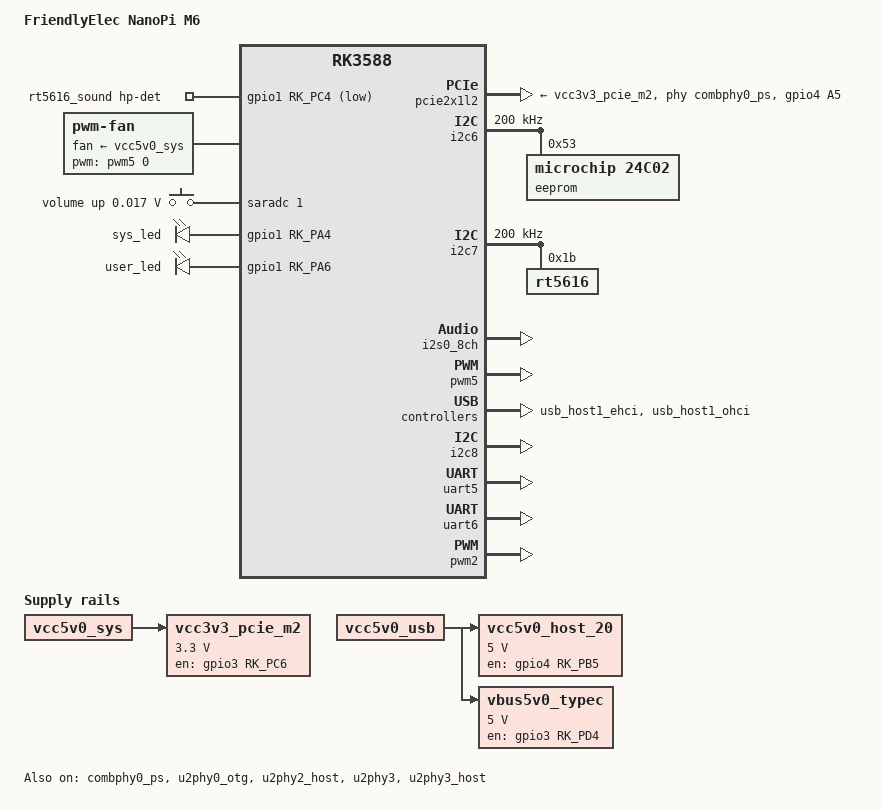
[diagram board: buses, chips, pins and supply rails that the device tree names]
// SPDX-License-Identifier: (GPL-2.0+ OR MIT)
/*
 * Copyright (c) 2024 FriendlyElec Computer Tech. Co., Ltd.
 * (http://www.friendlyelec.com)
 *
 * Copyright (c) 2021 Rockchip Electronics Co., Ltd.
 */

/dts-v1/;

#include "rk3588s-nanopi-r6-common.dtsi"

/ {
	model = "FriendlyElec NanoPi M6";
	compatible = "friendlyelec,nanopi-m6", "rockchip,rk3588";

	aliases {
		ethernet0 = &gmac1;
	};

	rt5616_sound: rt5616-sound {
		status = "okay";
		compatible = "simple-audio-card";
		pinctrl-names = "default";
		pinctrl-0 = <&hp_det>;

		simple-audio-card,name = "realtek,rt5616-codec";
		simple-audio-card,format = "i2s";
		simple-audio-card,mclk-fs = <256>;

		simple-audio-card,hp-det-gpio = <&gpio1 RK_PC4 GPIO_ACTIVE_LOW>;
		simple-audio-card,hp-pin-name = "Headphone Jack";

		simple-audio-card,widgets =
			"Headphone", "Headphone Jack",
			"Microphone", "Microphone Jack";
		simple-audio-card,routing =
			"Headphone Jack", "HPOL",
			"Headphone Jack", "HPOR",
			"MIC1", "Microphone Jack",
			"Microphone Jack", "micbias1";

		simple-audio-card,cpu {
			sound-dai = <&i2s0_8ch>;
		};
		simple-audio-card,codec {
			sound-dai = <&rt5616>;
		};
	};

	fan: pwm-fan {
		status = "okay";
		compatible = "pwm-fan";
		#cooling-cells = <2>;
		fan-supply = <&vcc5v0_sys>;
		pwms = <&pwm5 0 50000 0>;
		cooling-levels = <0 35 64 100 150 255>;
		rockchip,hold-time-ms = <2000>;
		rockchip,temp-trips = <
			50000	1
			55000	2
			60000	3
			65000	4
			70000	5
		>;
	};

	adc_keys: adc-keys {
		compatible = "adc-keys";
		io-channels = <&saradc 1>;
		io-channel-names = "buttons";
		keyup-threshold-microvolt = <1800000>;
		poll-interval = <100>;

		vol-up-key {
			label = "volume up";
			linux,code = <KEY_VOLUMEUP>;
			press-threshold-microvolt = <17000>;
		};
	};

	gpio_leds: gpio-leds {
		compatible = "gpio-leds";

		sys_led: led-0 {
			gpios = <&gpio1 RK_PA4 GPIO_ACTIVE_HIGH>;
			label = "sys_led";
			linux,default-trigger = "heartbeat";
			pinctrl-names = "default";
			pinctrl-0 = <&sys_led_pin>;
		};

		user_led: led-1 {
			gpios = <&gpio1 RK_PA6 GPIO_ACTIVE_HIGH>;
			label = "user_led";
			pinctrl-names = "default";
			pinctrl-0 = <&user_led_pin>;
		};
	};

	vcc3v3_pcie_m2: vcc3v3-pcie30 {
		compatible = "regulator-fixed";
		enable-active-high;
		gpios = <&gpio3 RK_PC6 GPIO_ACTIVE_HIGH>;
		pinctrl-names = "default";
		pinctrl-0 = <&pcie_m2_0_pwren>;
		regulator-name = "vcc3v3_pcie_m2";
		regulator-min-microvolt = <3300000>;
		regulator-max-microvolt = <3300000>;
		vin-supply = <&vcc5v0_sys>;
	};

	vcc5v0_host_20: vcc5v0-host-20 {
		compatible = "regulator-fixed";
		enable-active-high;
		gpio = <&gpio4 RK_PB5 GPIO_ACTIVE_HIGH>;
		pinctrl-names = "default";
		pinctrl-0 = <&vcc5v0_host20_en>;
		regulator-name = "vcc5v0_host_20";
		regulator-min-microvolt = <5000000>;
		regulator-max-microvolt = <5000000>;
		vin-supply = <&vcc5v0_usb>;
	};

	vbus5v0_typec: vbus5v0-typec {
		compatible = "regulator-fixed";
		enable-active-high;
		gpio = <&gpio3 RK_PD4 GPIO_ACTIVE_HIGH>;
		pinctrl-names = "default";
		pinctrl-0 = <&typec5v_pwren>;
		regulator-name = "vbus5v0_typec";
		regulator-min-microvolt = <5000000>;
		regulator-max-microvolt = <5000000>;
		vin-supply = <&vcc5v0_usb>;
	};

	pwm_backlight: pwm-backlight {
		status = "disabled";
		compatible = "pwm-backlight";
	};
};


&pcie2x1l2 {
	pinctrl-names = "default";
	pinctrl-0 = <&pcie_m2_0_prsnt>;
	prsnt-gpios = <&gpio4 RK_PA5 GPIO_ACTIVE_HIGH>;
	phys = <&combphy0_ps PHY_TYPE_PCIE>;
	vpcie3v3-supply = <&vcc3v3_pcie_m2>;
	status = "okay";
};

&combphy0_ps {
	status = "okay";
};

&sata0 {
	phys = <&combphy0_ps PHY_TYPE_SATA>;
	target-supply = <&vcc3v3_pcie_m2>;
	status = "disabled";
};

&pinctrl {
	gpio-leds {
		sys_led_pin: sys-led-pin {
			rockchip,pins =
				<1 RK_PA4 RK_FUNC_GPIO &pcfg_pull_none>;
		};

		user_led_pin: lan1-led-pin {
			rockchip,pins =
				<1 RK_PA6 RK_FUNC_GPIO &pcfg_pull_none>;
		};
	};

	headphone {
		hp_det: hp-det {
			rockchip,pins = <1 RK_PC4 RK_FUNC_GPIO &pcfg_pull_none>;
		};
	};

	lcd {
		/omit-if-no-ref/
		lcd_rst0_gpio: lcd-rst0-gpio {
			rockchip,pins = <3 RK_PD2 RK_FUNC_GPIO &pcfg_pull_none>;
		};

		/omit-if-no-ref/
		lcd_rst1_gpio: lcd-rst1-gpio {
			rockchip,pins = <4 RK_PA1 RK_FUNC_GPIO &pcfg_pull_none>;
		};

		/omit-if-no-ref/
		touch_dsi0_gpio: touch-dsi0-gpio {
			rockchip,pins =
				<3 RK_PC0 RK_FUNC_GPIO &pcfg_pull_up>,
				<3 RK_PC1 RK_FUNC_GPIO &pcfg_pull_none>;
		};

		/omit-if-no-ref/
		touch_dsi1_gpio: touch-dsi1-gpio {
			rockchip,pins =
				<4 RK_PA0 RK_FUNC_GPIO &pcfg_pull_up>,
				<4 RK_PA2 RK_FUNC_GPIO &pcfg_pull_none>;
		};
	};

	pcie {
		pcie_m2_0_pwren: pcie-m20-pwren {
			rockchip,pins = <3 RK_PC6 RK_FUNC_GPIO &pcfg_pull_none>;
		};
		pcie_m2_0_prsnt: pcie-m20-prsnt {
			rockchip,pins = <4 RK_PA5 RK_FUNC_GPIO &pcfg_pull_up>;
		};
	};

	usb {
		typec5v_pwren: typec5v-pwren {
			rockchip,pins = <3 RK_PD4 RK_FUNC_GPIO &pcfg_pull_none>;
		};

		vcc5v0_host20_en: vcc5v0-host20-en {
			rockchip,pins = <4 RK_PB5 RK_FUNC_GPIO &pcfg_pull_none>;
		};
	};
};

// EEPROM is not mounted by default.
&i2c6 {
	clock-frequency = <200000>;
	status = "okay";

	eeprom@53 {
		compatible = "microchip,24c02", "atmel,24c02";
		reg = <0x53>;
		#address-cells = <2>;
		#size-cells = <0>;
		pagesize = <16>;
		size = <256>;

		eui_48: eui-48@fa {
			reg = <0xfa 0x06>;
		};
	};
};

&i2c7 {
	clock-frequency = <200000>;
	status = "okay";

	rt5616: rt5616@1b {
		status = "okay";
		#sound-dai-cells = <0>;
		compatible = "rt5616";
		reg = <0x1b>;
		clocks = <&mclkout_i2s0>;
		clock-names = "mclk";
		assigned-clocks = <&mclkout_i2s0>;
		assigned-clock-rates = <12288000>;
		pinctrl-names = "default";
		pinctrl-0 = <&i2s0_mclk>;
	};

	/* connected with MIPI-CSI1 */
};

&i2s0_8ch {
	status = "okay";
	pinctrl-0 = <&i2s0_lrck
		     &i2s0_sclk
		     &i2s0_sdi0
		     &i2s0_sdo0>;
	rockchip,trcm-sync-tx-only;
};

&pwm5 {
	pinctrl-0 = <&pwm5m1_pins>;
	status = "okay";
};

&u2phy0_otg {
	phy-supply = <&vbus5v0_typec>;
	status = "okay";
};

&u2phy2_host {
	phy-supply = <&vcc5v0_host_20>;
	status = "okay";
};

&u2phy3 {
	status = "okay";
};

&u2phy3_host {
	status = "okay";
};

&usb_host1_ehci {
	status = "okay";
};

&usb_host1_ohci {
	status = "okay";
};

/* GPIO Connector */
&i2c1 {
	pinctrl-0 = <&i2c1m2_xfer>;
	status = "disabled";
};

&i2c8 {
	pinctrl-0 = <&i2c8m2_xfer>;
	status = "okay";
};

&spi0 {
	pinctrl-0 = <&spi0m2_cs0 &spi0m2_pins>;
	status = "disabled";

	spidev0: spidev@0 {
		compatible = "rockchip,spidev";
		reg = <0>;
		spi-max-frequency = <10000000>;
		status = "disabled";
	};
};

&uart0 {
	pinctrl-0 = <&uart0m0_xfer>;
	status = "disabled";
};

&uart4 {
	pinctrl-0 = <&uart4m2_xfer>;
	status = "disabled";
};

&uart5 {
	pinctrl-0 = <&uart5m1_xfer>;
	status = "okay";
};

&uart6 {
	pinctrl-0 = <&uart6m1_xfer>;
	status = "okay";
};

&uart7 {
	pinctrl-0 = <&uart7m2_xfer>;
	status = "disabled";
};

&uart8 {
	pinctrl-0 = <&uart8m0_xfer>;
	status = "disabled";
};

&pwm2 {
	pinctrl-0 = <&pwm2m0_pins>;
	status = "okay";
};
